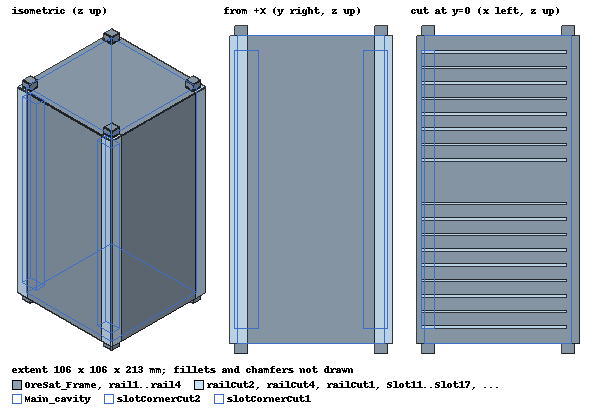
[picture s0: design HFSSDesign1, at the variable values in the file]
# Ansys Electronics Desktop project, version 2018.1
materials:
  vacuum: permittivity=1
  aluminum: permeability=1.000021 conductivity=38000000

design HFSSDesign1 (HFSS, DrivenModal, model units mm)
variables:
  t = 0
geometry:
  OreSat_Frame [aluminum] = box(corner=(-53mm, -53mm, 0mm), size=(106mm, 106mm, -200mm))
  Main_cavity [vacuum] = box(corner=(-47.75mm, -47.75mm, 0mm), size=(95.5mm, 95.5mm, -200mm))
  Slot1 [vacuum] = box(corner=(-44.8mm, 49.9mm, -10mm), size=(94.7mm, -99.8mm, -1.641mm))
  Slot2 [vacuum] = box(corner=(-44.8mm, 49.9mm, -20mm), size=(94.7mm, -99.8mm, -1.641mm))
  Slot3 [vacuum] = box(corner=(-44.8mm, 49.9mm, -30mm), size=(94.7mm, -99.8mm, -1.641mm))
  Slot4 [vacuum] = box(corner=(-44.8mm, 49.9mm, -40mm), size=(94.7mm, -99.8mm, -1.641mm))
  Slot5 [vacuum] = box(corner=(-44.8mm, 49.9mm, -50mm), size=(94.7mm, -99.8mm, -1.641mm))
  Slot6 [vacuum] = box(corner=(-44.8mm, 49.9mm, -60mm), size=(94.7mm, -99.8mm, -1.641mm))
  Slot7 [vacuum] = box(corner=(-44.8mm, 49.9mm, -70mm), size=(94.7mm, -99.8mm, -1.641mm))
  Slot8 [vacuum] = box(corner=(-44.8mm, 49.9mm, -80mm), size=(94.7mm, -99.8mm, -1.641mm))
  Slot9 [vacuum] = box(corner=(-44.8mm, 49.9mm, -108.359mm), size=(94.7mm, -99.8mm, -1.641mm))
  Slot10 [vacuum] = box(corner=(-44.8mm, 49.9mm, -118.359mm), size=(94.7mm, -99.8mm, -1.641mm))
  Slot11 [vacuum] = box(corner=(-44.8mm, 49.9mm, -128.359mm), size=(94.7mm, -99.8mm, -1.641mm))
  Slot12 [vacuum] = box(corner=(-44.8mm, 49.9mm, -138.359mm), size=(94.7mm, -99.8mm, -1.641mm))
  Slot13 [vacuum] = box(corner=(-44.8mm, 49.9mm, -148.359mm), size=(94.7mm, -99.8mm, -1.641mm))
  Slot14 [vacuum] = box(corner=(-44.8mm, 49.9mm, -158.359mm), size=(94.7mm, -99.8mm, -1.641mm))
  Slot15 [vacuum] = box(corner=(-44.8mm, 49.9mm, -168.359mm), size=(94.7mm, -99.8mm, -1.641mm))
  Slot16 [vacuum] = box(corner=(-44.8mm, 49.9mm, -178.359mm), size=(94.7mm, -99.8mm, -1.641mm))
  Slot17 [vacuum] = box(corner=(-44.8mm, 49.9mm, -188.359mm), size=(94.7mm, -99.8mm, -1.641mm))
  railCut1 [vacuum] = box(corner=(53mm, 53mm, 0mm), size=(-11.5mm, -11.5mm, -200mm))
  railCut2 [vacuum] = box(corner=(53mm, -53mm, 0mm), size=(-11.5mm, 11.5mm, -200mm))
  railCut3 [vacuum] = box(corner=(-53mm, -53mm, 0mm), size=(11.5mm, 11.5mm, -200mm))
  railCut4 [vacuum] = box(corner=(-53mm, 53mm, 0mm), size=(11.5mm, -11.5mm, -200mm))
  rail1 [aluminum] = box(corner=(41.5mm, 41.5mm, 6.5mm), size=(8.5mm, 8.5mm, -213mm))
  mount3 [vacuum] = box(corner=(-41.5mm, -41.5mm, -10mm), size=(4.5mm, -6.25mm, -180mm))
  mount2 [vacuum] = box(corner=(41.5mm, -41.5mm, -10mm), size=(-4.5mm, -6.25mm, -180mm))
  mount1 [vacuum] = box(corner=(41.5mm, 41.5mm, -10mm), size=(-4.5mm, 6.25mm, -180mm))
  mount4 [vacuum] = box(corner=(-41.5mm, 41.5mm, -10mm), size=(4.5mm, 6.25mm, -180mm))
  rail2 [aluminum] = box(corner=(41.5mm, -41.5mm, 6.5mm), size=(8.5mm, -8.5mm, -213mm))
  rail3 [aluminum] = box(corner=(-41.5mm, -41.5mm, 6.5mm), size=(-8.5mm, -8.5mm, -213mm))
  rail4 [aluminum] = box(corner=(-41.5mm, 41.5mm, 6.5mm), size=(-8.5mm, 8.5mm, -213mm))
  slotCornerCut2 [vacuum] = box(corner=(49.9mm, -49.9mm, -10mm), size=(-8.5mm, 15.5mm, -180mm))
  slotCornerCut1 [vacuum] = box(corner=(49.9mm, 49.9mm, -10mm), size=(-8.5mm, -15.5mm, -180mm))
  slotCorner2 [vacuum] = box(corner=(41.4mm, -34.4mm, -10mm), size=(4.9mm, -12.75mm, -180mm))
  slotCorner1 [vacuum] = box(corner=(41.4mm, 34.4mm, -10mm), size=(4.9mm, 12.75mm, -180mm))
  Slot1.chamfer(Edges=Slot1.edge(11 of 12, 9 of 12) LeftDistance=5.8mm RightDistance=5.8mm ChamferType=Symmetric)
  Slot2.chamfer(Edges=Slot2.edge(11 of 12, 9 of 12) LeftDistance=5.8mm RightDistance=5.8mm ChamferType=Symmetric)
  Slot3.chamfer(Edges=Slot3.edge(11 of 12, 9 of 12) LeftDistance=5.8mm RightDistance=5.8mm ChamferType=Symmetric)
  Slot4.chamfer(Edges=Slot4.edge(11 of 12, 9 of 12) LeftDistance=5.8mm RightDistance=5.8mm ChamferType=Symmetric)
  Slot5.chamfer(Edges=Slot5.edge(11 of 12, 9 of 12) LeftDistance=5.8mm RightDistance=5.8mm ChamferType=Symmetric)
  Slot6.chamfer(Edges=Slot6.edge(11 of 12, 9 of 12) LeftDistance=5.8mm RightDistance=5.8mm ChamferType=Symmetric)
  Slot7.chamfer(Edges=Slot7.edge(11 of 12, 9 of 12) LeftDistance=5.8mm RightDistance=5.8mm ChamferType=Symmetric)
  Slot8.chamfer(Edges=Slot8.edge(11 of 12, 9 of 12) LeftDistance=5.8mm RightDistance=5.8mm ChamferType=Symmetric)
  Slot9.chamfer(Edges=Slot9.edge(11 of 12, 9 of 12) LeftDistance=5.8mm RightDistance=5.8mm ChamferType=Symmetric)
  Slot10.chamfer(Edges=Slot10.edge(11 of 12, 9 of 12) LeftDistance=5.8mm RightDistance=5.8mm ChamferType=Symmetric)
  Slot11.chamfer(Edges=Slot11.edge(11 of 12, 9 of 12) LeftDistance=5.8mm RightDistance=5.8mm ChamferType=Symmetric)
  Slot12.chamfer(Edges=Slot12.edge(11 of 12, 9 of 12) LeftDistance=5.8mm RightDistance=5.8mm ChamferType=Symmetric)
  Slot13.chamfer(Edges=Slot13.edge(11 of 12, 9 of 12) LeftDistance=5.8mm RightDistance=5.8mm ChamferType=Symmetric)
  Slot14.chamfer(Edges=Slot14.edge(11 of 12, 9 of 12) LeftDistance=5.8mm RightDistance=5.8mm ChamferType=Symmetric)
  Slot15.chamfer(Edges=Slot15.edge(11 of 12, 9 of 12) LeftDistance=5.8mm RightDistance=5.8mm ChamferType=Symmetric)
  Slot16.chamfer(Edges=Slot16.edge(11 of 12, 9 of 12) LeftDistance=5.8mm RightDistance=5.8mm ChamferType=Symmetric)
  Slot17.chamfer(Edges=Slot17.edge(11 of 12, 9 of 12) LeftDistance=5.8mm RightDistance=5.8mm ChamferType=Symmetric)
